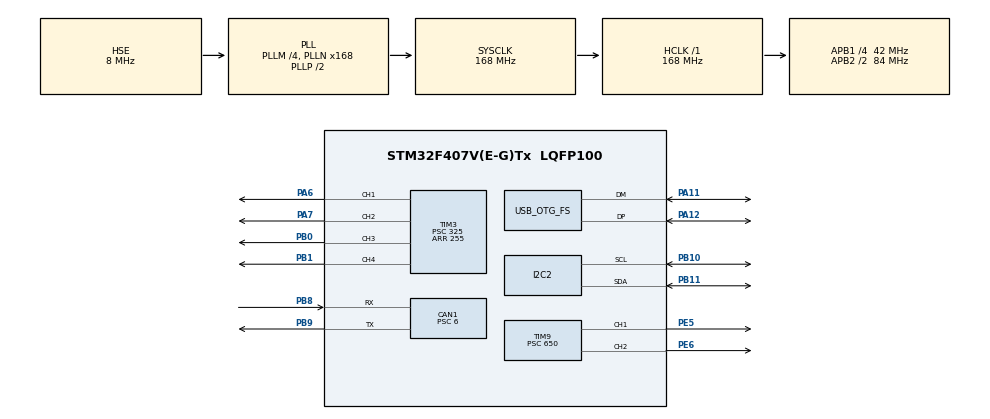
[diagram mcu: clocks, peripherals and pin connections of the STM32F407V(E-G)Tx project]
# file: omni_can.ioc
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CAN1.BS1=CAN_BS1_11TQ
CAN1.BS2=CAN_BS2_2TQ
CAN1.CalculateBaudRate=500000
CAN1.CalculateTimeBit=2000
CAN1.CalculateTimeQuantum=142.85714285714286
CAN1.Prescaler=6
Mcu.Family=STM32F4
Mcu.Name=STM32F407V(E-G)Tx
Mcu.Package=LQFP100
NVIC.CAN1_RX0_IRQn=true\:0\:0\:false\:false\:true\:true\:true\:true
NVIC.OTG_FS_IRQn=true\:0\:0\:false\:false\:true\:false\:true\:true
NVIC.PriorityGroup=NVIC_PRIORITYGROUP_0
NVIC.TIM5_IRQn=true\:0\:0\:false\:false\:true\:true\:true\:true
PA11.Mode=Device_Only
PA11.Signal=USB_OTG_FS_DM
PA12.Mode=Device_Only
PA12.Signal=USB_OTG_FS_DP
PA13.Mode=Serial_Wire
PA13.Signal=SYS_JTMS-SWDIO
PA14.Mode=Serial_Wire
PA14.Signal=SYS_JTCK-SWCLK
PA6.Signal=S_TIM3_CH1
PA7.Signal=S_TIM3_CH2
PB0.Signal=S_TIM3_CH3
PB1.Signal=S_TIM3_CH4
PB10.Mode=I2C
PB10.Signal=I2C2_SCL
PB11.Mode=I2C
PB11.Signal=I2C2_SDA
PB8.Mode=CAN_Activate
PB8.Signal=CAN1_RX
PB9.Mode=CAN_Activate
PB9.Signal=CAN1_TX
PC14-OSC32_IN.Mode=LSE-External-Oscillator
PC14-OSC32_IN.Signal=RCC_OSC32_IN
PC15-OSC32_OUT.Mode=LSE-External-Oscillator
PC15-OSC32_OUT.Signal=RCC_OSC32_OUT
PE5.Signal=S_TIM9_CH1
PE6.Signal=S_TIM9_CH2
PH0-OSC_IN.Mode=HSE-External-Oscillator
PH0-OSC_IN.Signal=RCC_OSC_IN
PH1-OSC_OUT.Mode=HSE-External-Oscillator
PH1-OSC_OUT.Signal=RCC_OSC_OUT
ProjectManager.HeapSize=0x200
ProjectManager.StackSize=0x400
ProjectManager.TargetToolchain=STM32CubeIDE
RCC.48MHZClocksFreq_Value=48000000
RCC.AHBFreq_Value=168000000
RCC.APB1CLKDivider=RCC_HCLK_DIV4
RCC.APB1Freq_Value=42000000
RCC.APB1TimFreq_Value=84000000
RCC.APB2CLKDivider=RCC_HCLK_DIV2
RCC.APB2Freq_Value=84000000
RCC.APB2TimFreq_Value=168000000
RCC.CortexFreq_Value=168000000
RCC.HCLKFreq_Value=168000000
RCC.HSE_VALUE=8000000
RCC.HSI_VALUE=16000000
RCC.PLLM=4
RCC.PLLN=168
RCC.PLLQ=7
RCC.SYSCLKFreq_VALUE=168000000
RCC.SYSCLKSource=RCC_SYSCLKSOURCE_PLLCLK
RCC.VCOOutputFreq_Value=336000000
SH.S_TIM3_CH1.0=TIM3_CH1,PWM Generation1 CH1
SH.S_TIM3_CH2.0=TIM3_CH2,PWM Generation2 CH2
SH.S_TIM3_CH3.0=TIM3_CH3,PWM Generation3 CH3
SH.S_TIM3_CH4.0=TIM3_CH4,PWM Generation4 CH4
SH.S_TIM9_CH1.0=TIM9_CH1,PWM Generation1 CH1
SH.S_TIM9_CH2.0=TIM9_CH2,PWM Generation2 CH2
TIM3.Channel-PWM\ Generation1\ CH1=TIM_CHANNEL_1
TIM3.Channel-PWM\ Generation2\ CH2=TIM_CHANNEL_2
TIM3.Channel-PWM\ Generation3\ CH3=TIM_CHANNEL_3
TIM3.Channel-PWM\ Generation4\ CH4=TIM_CHANNEL_4
TIM3.Period=255
TIM3.Prescaler=325
TIM5.Period=100-1
TIM5.Prescaler=8400-1
TIM9.Channel-PWM\ Generation1\ CH1=TIM_CHANNEL_1
TIM9.Channel-PWM\ Generation2\ CH2=TIM_CHANNEL_2
TIM9.Period=255
TIM9.Prescaler=650
USB_DEVICE.CLASS_NAME_FS=CDC
USB_DEVICE.VirtualMode-CDC_FS=Cdc
USB_DEVICE.VirtualModeFS=Cdc_FS
USB_OTG_FS.VirtualMode=Device_Only
VP_TIM3_VS_ClockSourceINT.Mode=Internal
VP_TIM5_VS_ClockSourceINT.Mode=Internal
VP_TIM9_VS_ClockSourceINT.Mode=Internal
VP_USB_DEVICE_VS_USB_DEVICE_CDC_FS.Mode=CDC_FS
board=STM32F407G-DISC1

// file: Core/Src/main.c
/* USER CODE BEGIN Header */
/**
  ******************************************************************************
  * @file           : main.c
  * @brief          : Main program body
  ******************************************************************************
  * @attention
  *
  * Copyright (c) 2026 STMicroelectronics.
  * All rights reserved.
  *
  * This software is licensed under terms that can be found in the LICENSE file
  * in the root directory of this software component.
  * If no LICENSE file comes with this software, it is provided AS-IS.
  *
  ******************************************************************************
  */
/* USER CODE END Header */
#include "main.h"
#include "usb_device.h"

/* USER CODE BEGIN Includes */
#include<stdio.h>
#include<stdbool.h>
#include<stdint.h>
#include<string.h>
#include<math.h>
/* USER CODE END Includes */

/* USER CODE BEGIN PD */

#define BNO055_ADDR (0x28 << 1)
#define PWR_MODE 0x3E
#define OPR_MODE 0x3D
#define EUL_DATA_START 0x1A

uint8_t bno_data[6];
float current_heading, current_roll, current_pitch;

#define data_size 5
#define slave_addr 8
uint8_t data[data_size];
char buffer[100];

int L_joystick_x = 0, L_joystick_y = 0, R_joystick_x = 0, R_joystick_y = 0;

#define radius       1
#define length       1
#define MAX_PWM      60
#define DEADZONE     35
#define dt           0.001

uint8_t L2;
uint8_t R2;
bool L1;
bool R1;

bool right;
bool down;
bool up;
bool left;
bool square;
bool cross;
bool circle;
bool triangle;

int pwm1, pwm2, pwm3;

float bot_vel, theta;
int16_t omega;
  bool flag = false;
bool moving = false;
bool is_omega = false;
  bool pid_tim = false;

float P,I,D;
float p,i,d;

float kp = 0;
float ki = 0;
float kd = 0;
float KP = 2.5;
float KI = 0;
float KD = 0.5;

float k = 0.0015;
float error, error1, error2, d_error;
float ERR, ERR1, ERR2, D_error;
float correction;
float CORRECTION;
float target_heading = 0;

 bool pid = true;

 unsigned long  t_start, t_end;
 float dt2;

volatile bool imu = false;
volatile bool value = false;

uint32_t i2c1, i2c2;

/* USER CODE END PD */

CAN_HandleTypeDef hcan1;

I2C_HandleTypeDef hi2c2;

TIM_HandleTypeDef htim3;
TIM_HandleTypeDef htim5;
TIM_HandleTypeDef htim9;

void SystemClock_Config(void);
static void MX_GPIO_Init(void);
static void MX_CAN1_Init(void);
static void MX_TIM3_Init(void);
static void MX_TIM9_Init(void);
static void MX_TIM5_Init(void);
static void MX_I2C2_Init(void);

/* USER CODE BEGIN 0 */

CAN_FilterTypeDef sFilterConfig;
CAN_RxHeaderTypeDef RxHeader;
uint8_t RxData[8];

uint32_t blink_delay;

uint8_t msg[150];

float radians(float angle){
  	return angle*2*3.14159265358979323846/360.0;
  }

  float degrees(float angle){
  	return angle*360.0/(2*3.14159265358979323846);
  }

  long map(long x, long in_min, long in_max, long out_min, long out_max)
  {
    return (x - in_min) * (out_max - out_min) / (in_max - in_min) + out_min;
  }

  float constrain(float num, float min, float max){

  	if(num > max) {
  		return max;
  	}

  	else if(num < min){
  		return min;
  	}

  	else {
  		return num;
  	}
  }

  void BNO055_init(){

   uint8_t pwr = 0x00;
   uint8_t opr = 0x0C;
   uint8_t config = 0x00;

    HAL_I2C_Mem_Write(&hi2c2, BNO055_ADDR, OPR_MODE, 1, &config, 1, 100); // setting to config mode
  	HAL_I2C_Mem_Write(&hi2c2, BNO055_ADDR, PWR_MODE, 1, &pwr, 1, 100);  // setting bno055 to normal mode
  	HAL_I2C_Mem_Write(&hi2c2, BNO055_ADDR, OPR_MODE, 1, &opr, 1, 100); // setting to Ndof mode

  	//HAL_Delay(700);

  }

  float normalise_angle(float angle)
  {
      if(angle > 180.0)  {
    	  angle -= 360.0;
      }
      if(angle < -180.0) {
    	  angle += 360.0;
      }
      return angle;
  }

  void get_angle(){

  	  //HAL_I2C_Mem_Read(&hi2c2, BNO055_ADDR,EUL_DATA_START , 1, bno_data, 6, 100);
//      current_heading = (bno_data[0] | (bno_data[1] << 8)/16);
//      current_roll = bno_data[2] | (bno_data[3] << 8)/16;
//      current_pitch = bno_data[4] | (bno_data[5] << 8)/16;

//  	int16_t heading_raw = (int16_t)(bno_data[0] | (bno_data[1] << 8));
//  	int16_t roll_raw    = (int16_t)(bno_data[2] | (bno_data[3] << 8));
//  	int16_t pitch_raw   = (int16_t)(bno_data[4] | (bno_data[5] << 8));
//
//  	    current_heading = normalise_angle(heading_raw / 16.0f);
//  	    current_roll    = roll_raw / 16.0f;
//  	    current_pitch   = pitch_raw / 16.0f;

//      char buffer1[100];
//
//    		    		      sprintf(buffer1, "heading = %d \t roll = %d \t pitch = %d \r\n",  current_heading, current_roll, current_pitch);
//    		    		 	  HAL_UART_Transmit(&huart2, (uint8_t*)buffer1, strlen(buffer1), 100);

  	 if(HAL_I2C_Mem_Read(&hi2c2, BNO055_ADDR, EUL_DATA_START, 1, bno_data, 6, 100) == HAL_OK){

  	    int16_t heading_raw = (int16_t)((bno_data[1] << 8) | bno_data[0]);
  	    current_heading = heading_raw / 16.0;

  	    current_heading = -normalise_angle(current_heading);
  	 }

  	 else{

//  		 uint8_t resetCommand = 0x20;
//  		 uint8_t resetCommandTrigRegAddr = 0x3F;
//
//  	             	i2c2 = HAL_I2C_GetError(&hi2c2);
//  		            HAL_I2C_DeInit(&hi2c2);
//  		  		    HAL_Delay(50);
//  		  		    HAL_I2C_Init(&hi2c2);
//  		  		    HAL_Delay(100);
//
//  		     // Write to SYS_TRIGGER (0x3F)
//  		     HAL_I2C_Mem_Write(&hi2c2, BNO055_ADDR, resetCommandTrigRegAddr, I2C_MEMADD_SIZE_8BIT, &resetCommand, sizeof(resetCommand), 100);
//
//  		     // Critical Delay: The datasheet says wait 650ms after reset
//  		     HAL_Delay(700);
//  		     BNO055_init();
//

  	 }

  }

  void decode_buttons(){

      L_joystick_x = map(RxData[0], 0, 255, 127, -127);
     		  L_joystick_y = map(RxData[1], 0, 255, 127, -127);

     		    	right = ((RxData[2] & (1 << 0)) ? 1 : 0);
     		       down = ((RxData[2] & (1 << 1)) ? 1 : 0);
     		    	     up = ((RxData[2] & (1 << 2)) ? 1 : 0);
     		    	     left = ((RxData[2] & (1 << 3)) ? 1 : 0);
     		    	     square = ((RxData[2] & (1 << 4)) ? 1 : 0);
     		    	     cross = ((RxData[2] & (1 << 5)) ? 1 : 0);
     		    	     circle = ((RxData[2] & (1 << 6)) ? 1 : 0);
     		    	     triangle = ((RxData[2] & (1 << 7)) ? 1 : 0);

     		    	     L2 = RxData[3];
     		    	     R2 = RxData[4];

     		    	     omega = map(L2-R2, -255, 255, 40, -40);

     		    	   if(abs(L_joystick_x) < DEADZONE)
     		    	 	  {
     		    	 		  L_joystick_x = 0;
     		    	 	  }
     		    	 	  if(abs(L_joystick_y) < DEADZONE)
     		    	 		  {
     		    	 			  L_joystick_y = 0;
     		    	 		  }
     		    	 	  if(abs(omega) < DEADZONE)
     		    	 		  {
     		    	 			  omega = 0;
     		    	 		  }

  }
  void find_wheel_vel(){

	  bot_vel = sqrt( pow(L_joystick_x, 2) + pow( L_joystick_y, 2) );
	  theta = atan2(L_joystick_y, L_joystick_x) - radians(target_heading);

//	  pwm1 = constrain(((bot_vel*cos(theta) - (length*omega)) / radius) + correction, -MAX_PWM, MAX_PWM);
//	  pwm2 = constrain(((sqrt(3)*bot_vel*sin(theta) - bot_vel*cos(theta) - 2*length*omega) / (2*radius)) + correction, -MAX_PWM, MAX_PWM);
//	  pwm3 = constrain((-1*((bot_vel*cos(theta) + sqrt(3)*bot_vel*sin(theta) + 2*length*omega) / (2*radius))) + correction, -MAX_PWM, MAX_PWM);
//

	  pwm1 = constrain(((bot_vel*cos(theta) - (length*omega)) / radius) + CORRECTION, -MAX_PWM, MAX_PWM);
	  pwm2 = constrain(((sqrt(3)*bot_vel*sin(theta) - bot_vel*cos(theta) - 2*length*omega) / (2*radius)) + CORRECTION, -MAX_PWM, MAX_PWM);
	  pwm3 = constrain((-1*((bot_vel*cos(theta) + sqrt(3)*bot_vel*sin(theta) + 2*length*omega) / (2*radius))) + CORRECTION, -MAX_PWM, MAX_PWM);

	  //target_heading += omega*k;

//	  char buffer1[100];
//
//	  		    		      sprintf(buffer1, "pwm1 = %d \t pwm2 = %d \t pwm3 = %d \r\n",  pwm1, pwm2, pwm3);
//	  		    		 	  HAL_UART_Transmit(&huart2, (uint8_t*)buffer1, strlen(buffer1), 100);

  }

  void motor1(int speed){

	  if(speed > 0){
		  TIM3->CCR1 = speed;          //PA6
		  TIM3->CCR2 = 0;               //PA7

	  }

	  else{
		  TIM3->CCR1 = 0;
		  TIM3->CCR2 = -1*speed;

	  }

  }

  void motor2(int speed){

 	  if(speed > 0){
 		  TIM3->CCR3 = speed;          //PB0
 		  TIM3->CCR4 = 0;                //PB1

 	  }

 	  else{
 		  TIM3->CCR3 = 0;
 		  TIM3->CCR4 = -1*speed;

 	  }

   }

  void motor3(int speed){

 	  if(speed > 0){
 		  TIM9->CCR1 = speed;     //PE5
 		  TIM9->CCR2 = 0;         //PE6
 	  }

 	  else{
 		  TIM9->CCR1 = 0;
 		  TIM9->CCR2 = -1*speed;

 	  }

   }

  void PID(){

//   error = normalise_angle(target_heading - current_heading);
//   d_error = error - error2;
//   error2 = error;
//
//  P = error*kp;
//  I = I + (error*dt*ki);
//  D = (d_error/dt)*kd;
//
//  correction = P+I+D;

  }

  void rotate_motor(){

	      motor1(pwm1);
	      motor2(pwm2);
	      motor3(pwm3);

//	      sprintf(msg, "%d    %d   %d   %f \r\n", pwm1, pwm2, pwm3, current_heading);
//	           CDC_Transmit_FS(msg, sizeof(msg));

  }

  void rotate_motor2(){

 	      motor1(constrain(correction, -70, 70));
 	      motor2(constrain(correction, -70, 70));
 	      motor3(constrain(correction, -70, 70));

   }

  void PID2(){

	  ERR = normalise_angle(target_heading - current_heading);
	   D_error = ERR - ERR2;
	   ERR2 = ERR;

	  p = ERR*KP;
	  i = i + (ERR*(float)dt2*KI);
	  d = (D_error/(float)dt2)*KD;

	  CORRECTION = p+i+d;

  }

/* USER CODE END 0 */

int main(void)
{

  /* MCU Configuration--------------------------------------------------------*/

  /* Reset of all peripherals, Initializes the Flash interface and the Systick. */
  HAL_Init();

  /* Configure the system clock */
  SystemClock_Config();

  /* Initialize all configured peripherals */
  MX_GPIO_Init();
  MX_CAN1_Init();
  MX_USB_DEVICE_Init();
  MX_TIM3_Init();
  MX_TIM9_Init();
  MX_TIM5_Init();
  MX_I2C2_Init();
  /* USER CODE BEGIN 2 */

  sFilterConfig.FilterBank = 0;
  sFilterConfig.FilterMode = CAN_FILTERMODE_IDMASK;
  sFilterConfig.FilterScale = CAN_FILTERSCALE_32BIT;
  sFilterConfig.FilterIdHigh = 0x0000;                      //0x123 << 5 to accept only id 123
  sFilterConfig.FilterIdLow = 0x0000;
  sFilterConfig.FilterMaskIdHigh = 0x0000;                  // 0x7FF << 5 to accept only id 123
  sFilterConfig.FilterMaskIdLow = 0x0000;
  sFilterConfig.FilterFIFOAssignment = CAN_RX_FIFO0;
  sFilterConfig.FilterActivation = ENABLE;

  HAL_CAN_ConfigFilter(&hcan1, &sFilterConfig);

  // THEN start CAN
  HAL_CAN_Start(&hcan1);

  // THEN activate interrupt
   HAL_CAN_ActivateNotification(&hcan1, CAN_IT_RX_FIFO0_MSG_PENDING);

   HAL_TIM_Base_Start_IT(&htim5);
   HAL_TIM_PWM_Start(&htim9, TIM_CHANNEL_1);
   HAL_TIM_PWM_Start(&htim9, TIM_CHANNEL_2);
   HAL_TIM_PWM_Start(&htim3, TIM_CHANNEL_3);
   HAL_TIM_PWM_Start(&htim3, TIM_CHANNEL_4);
   HAL_TIM_PWM_Start(&htim3, TIM_CHANNEL_1);
   HAL_TIM_PWM_Start(&htim3, TIM_CHANNEL_2);
   BNO055_init();

  /* USER CODE END 2 */

  /* Infinite loop */
  while (1)
  {

    /* USER CODE BEGIN 3 */

//      sprintf(msg, "%d    %d   %d    %d    %d\r\n", RxData[0], RxData[1], RxData[2], RxData[3], RxData[4]);
//      CDC_Transmit_FS(msg, sizeof(msg));

	  t_start = HAL_GetTick();
	    dt2 = (t_start - t_end) / 1000.0;
	    t_end = t_start;

	      if(value){
            decode_buttons();
                 value = false;
	      }

	      if(imu){
		  get_angle();
		  imu = false;
	      }
//
//		  if(abs(L_joystick_x) < DEADZONE)
//		  {
//			  L_joystick_x = 0;
//		  }
//		  if(abs(L_joystick_y) < DEADZONE)
//			  {
//				  L_joystick_y = 0;
//			  }
//		  if(abs(omega) < DEADZONE)
//			  {
//				  omega = 0;
//			  }

		  if(omega){
				  		  pid = false;
				  		  flag = true;

				  	  }

				  	 if(!omega && flag){
				  		 flag = false;
				  		 pid = true;
				  		 target_heading = current_heading;
				  	 }

				  	if(pid){
				  			 PID2();
				  	}

		 find_wheel_vel();
		 rotate_motor();

		 	      sprintf(msg, "%d    %f \r\n" ,pid , current_heading);
		 	           CDC_Transmit_FS(msg, sizeof(msg));

     //HAL_Delay(5);

  }
  /* USER CODE END 3 */
}

void SystemClock_Config(void)
{
  RCC_OscInitTypeDef RCC_OscInitStruct = {0};
  RCC_ClkInitTypeDef RCC_ClkInitStruct = {0};

  /** Configure the main internal regulator output voltage
  */
  __HAL_RCC_PWR_CLK_ENABLE();
  __HAL_PWR_VOLTAGESCALING_CONFIG(PWR_REGULATOR_VOLTAGE_SCALE1);

  /** Initializes the RCC Oscillators according to the specified parameters
  * in the RCC_OscInitTypeDef structure.
  */
  RCC_OscInitStruct.OscillatorType = RCC_OSCILLATORTYPE_HSE;
  RCC_OscInitStruct.HSEState = RCC_HSE_ON;
  RCC_OscInitStruct.PLL.PLLState = RCC_PLL_ON;
  RCC_OscInitStruct.PLL.PLLSource = RCC_PLLSOURCE_HSE;
  RCC_OscInitStruct.PLL.PLLM = 4;
  RCC_OscInitStruct.PLL.PLLN = 168;
  RCC_OscInitStruct.PLL.PLLP = RCC_PLLP_DIV2;
  RCC_OscInitStruct.PLL.PLLQ = 7;
  if (HAL_RCC_OscConfig(&RCC_OscInitStruct) != HAL_OK)
  {
    Error_Handler();
  }

  /** Initializes the CPU, AHB and APB buses clocks
  */
  RCC_ClkInitStruct.ClockType = RCC_CLOCKTYPE_HCLK|RCC_CLOCKTYPE_SYSCLK
                              |RCC_CLOCKTYPE_PCLK1|RCC_CLOCKTYPE_PCLK2;
  RCC_ClkInitStruct.SYSCLKSource = RCC_SYSCLKSOURCE_PLLCLK;
  RCC_ClkInitStruct.AHBCLKDivider = RCC_SYSCLK_DIV1;
  RCC_ClkInitStruct.APB1CLKDivider = RCC_HCLK_DIV4;
  RCC_ClkInitStruct.APB2CLKDivider = RCC_HCLK_DIV2;

  if (HAL_RCC_ClockConfig(&RCC_ClkInitStruct, FLASH_LATENCY_5) != HAL_OK)
  {
    Error_Handler();
  }
}

static void MX_CAN1_Init(void)
{

  hcan1.Instance = CAN1;
  hcan1.Init.Prescaler = 6;
  hcan1.Init.Mode = CAN_MODE_NORMAL;
  hcan1.Init.SyncJumpWidth = CAN_SJW_1TQ;
  hcan1.Init.TimeSeg1 = CAN_BS1_11TQ;
  hcan1.Init.TimeSeg2 = CAN_BS2_2TQ;
  hcan1.Init.TimeTriggeredMode = DISABLE;
  hcan1.Init.AutoBusOff = DISABLE;
  hcan1.Init.AutoWakeUp = DISABLE;
  hcan1.Init.AutoRetransmission = DISABLE;
  hcan1.Init.ReceiveFifoLocked = DISABLE;
  hcan1.Init.TransmitFifoPriority = DISABLE;
  if (HAL_CAN_Init(&hcan1) != HAL_OK)
  {
    Error_Handler();
  }

}

static void MX_I2C2_Init(void)
{

  hi2c2.Instance = I2C2;
  hi2c2.Init.ClockSpeed = 100000;
  hi2c2.Init.DutyCycle = I2C_DUTYCYCLE_2;
  hi2c2.Init.OwnAddress1 = 0;
  hi2c2.Init.AddressingMode = I2C_ADDRESSINGMODE_7BIT;
  hi2c2.Init.DualAddressMode = I2C_DUALADDRESS_DISABLE;
  hi2c2.Init.OwnAddress2 = 0;
  hi2c2.Init.GeneralCallMode = I2C_GENERALCALL_DISABLE;
  hi2c2.Init.NoStretchMode = I2C_NOSTRETCH_DISABLE;
  if (HAL_I2C_Init(&hi2c2) != HAL_OK)
  {
    Error_Handler();
  }

}

static void MX_TIM3_Init(void)
{

  TIM_ClockConfigTypeDef sClockSourceConfig = {0};
  TIM_MasterConfigTypeDef sMasterConfig = {0};
  TIM_OC_InitTypeDef sConfigOC = {0};

  htim3.Instance = TIM3;
  htim3.Init.Prescaler = 325;
  htim3.Init.CounterMode = TIM_COUNTERMODE_UP;
  htim3.Init.Period = 255;
  htim3.Init.ClockDivision = TIM_CLOCKDIVISION_DIV1;
  htim3.Init.AutoReloadPreload = TIM_AUTORELOAD_PRELOAD_DISABLE;
  if (HAL_TIM_Base_Init(&htim3) != HAL_OK)
  {
    Error_Handler();
  }
  sClockSourceConfig.ClockSource = TIM_CLOCKSOURCE_INTERNAL;
  if (HAL_TIM_ConfigClockSource(&htim3, &sClockSourceConfig) != HAL_OK)
  {
    Error_Handler();
  }
  if (HAL_TIM_PWM_Init(&htim3) != HAL_OK)
  {
    Error_Handler();
  }
  sMasterConfig.MasterOutputTrigger = TIM_TRGO_RESET;
  sMasterConfig.MasterSlaveMode = TIM_MASTERSLAVEMODE_DISABLE;
  if (HAL_TIMEx_MasterConfigSynchronization(&htim3, &sMasterConfig) != HAL_OK)
  {
    Error_Handler();
  }
  sConfigOC.OCMode = TIM_OCMODE_PWM1;
  sConfigOC.Pulse = 0;
  sConfigOC.OCPolarity = TIM_OCPOLARITY_HIGH;
  sConfigOC.OCFastMode = TIM_OCFAST_DISABLE;
  if (HAL_TIM_PWM_ConfigChannel(&htim3, &sConfigOC, TIM_CHANNEL_1) != HAL_OK)
  {
    Error_Handler();
  }
  if (HAL_TIM_PWM_ConfigChannel(&htim3, &sConfigOC, TIM_CHANNEL_2) != HAL_OK)
  {
    Error_Handler();
  }
  if (HAL_TIM_PWM_ConfigChannel(&htim3, &sConfigOC, TIM_CHANNEL_3) != HAL_OK)
  {
    Error_Handler();
  }
  if (HAL_TIM_PWM_ConfigChannel(&htim3, &sConfigOC, TIM_CHANNEL_4) != HAL_OK)
  {
    Error_Handler();
  }
  HAL_TIM_MspPostInit(&htim3);

}

static void MX_TIM5_Init(void)
{

  TIM_ClockConfigTypeDef sClockSourceConfig = {0};
  TIM_MasterConfigTypeDef sMasterConfig = {0};

  htim5.Instance = TIM5;
  htim5.Init.Prescaler = 8400-1;
  htim5.Init.CounterMode = TIM_COUNTERMODE_UP;
  htim5.Init.Period = 100-1;
  htim5.Init.ClockDivision = TIM_CLOCKDIVISION_DIV1;
  htim5.Init.AutoReloadPreload = TIM_AUTORELOAD_PRELOAD_DISABLE;
  if (HAL_TIM_Base_Init(&htim5) != HAL_OK)
  {
    Error_Handler();
  }
  sClockSourceConfig.ClockSource = TIM_CLOCKSOURCE_INTERNAL;
  if (HAL_TIM_ConfigClockSource(&htim5, &sClockSourceConfig) != HAL_OK)
  {
    Error_Handler();
  }
  sMasterConfig.MasterOutputTrigger = TIM_TRGO_RESET;
  sMasterConfig.MasterSlaveMode = TIM_MASTERSLAVEMODE_DISABLE;
  if (HAL_TIMEx_MasterConfigSynchronization(&htim5, &sMasterConfig) != HAL_OK)
  {
    Error_Handler();
  }

}

static void MX_TIM9_Init(void)
{

  TIM_ClockConfigTypeDef sClockSourceConfig = {0};
  TIM_OC_InitTypeDef sConfigOC = {0};

  htim9.Instance = TIM9;
  htim9.Init.Prescaler = 650;
  htim9.Init.CounterMode = TIM_COUNTERMODE_UP;
  htim9.Init.Period = 255;
  htim9.Init.ClockDivision = TIM_CLOCKDIVISION_DIV1;
  htim9.Init.AutoReloadPreload = TIM_AUTORELOAD_PRELOAD_DISABLE;
  if (HAL_TIM_Base_Init(&htim9) != HAL_OK)
  {
    Error_Handler();
  }
  sClockSourceConfig.ClockSource = TIM_CLOCKSOURCE_INTERNAL;
  if (HAL_TIM_ConfigClockSource(&htim9, &sClockSourceConfig) != HAL_OK)
  {
    Error_Handler();
  }
  if (HAL_TIM_PWM_Init(&htim9) != HAL_OK)
  {
    Error_Handler();
  }
  sConfigOC.OCMode = TIM_OCMODE_PWM1;
  sConfigOC.Pulse = 0;
  sConfigOC.OCPolarity = TIM_OCPOLARITY_HIGH;
  sConfigOC.OCFastMode = TIM_OCFAST_DISABLE;
  if (HAL_TIM_PWM_ConfigChannel(&htim9, &sConfigOC, TIM_CHANNEL_1) != HAL_OK)
  {
    Error_Handler();
  }
  if (HAL_TIM_PWM_ConfigChannel(&htim9, &sConfigOC, TIM_CHANNEL_2) != HAL_OK)
  {
    Error_Handler();
  }
  HAL_TIM_MspPostInit(&htim9);

}

static void MX_GPIO_Init(void)
{

  /* GPIO Ports Clock Enable */
  __HAL_RCC_GPIOE_CLK_ENABLE();
  __HAL_RCC_GPIOC_CLK_ENABLE();
  __HAL_RCC_GPIOH_CLK_ENABLE();
  __HAL_RCC_GPIOA_CLK_ENABLE();
  __HAL_RCC_GPIOB_CLK_ENABLE();

}

/* USER CODE BEGIN 4 */

void HAL_TIM_PeriodElapsedCallback(TIM_HandleTypeDef *htim)
{
  /* Prevent unused argument(s) compilation warning */
  UNUSED(htim);

  /* NOTE : This function should not be modified, when the callback is needed,
            the HAL_TIM_PeriodElapsedCallback could be implemented in the user file
   */
  if(htim->Instance == TIM5){

	  imu = true;

  }
}

void HAL_CAN_RxFifo0MsgPendingCallback(CAN_HandleTypeDef *hcan)
{
    if(HAL_CAN_GetRxMessage(hcan, CAN_RX_FIFO0, &RxHeader, RxData) == HAL_OK)
    {
        if(RxHeader.StdId == 0x123)
        {
            value = true;

        }
    }
}

/* USER CODE END 4 */

void Error_Handler(void)
{
  __disable_irq();
  while (1)
  {
  }
}
